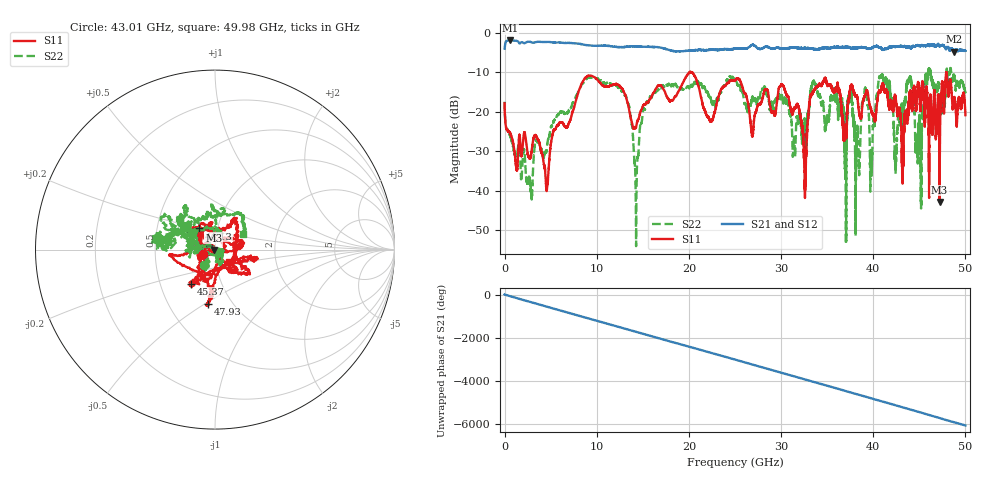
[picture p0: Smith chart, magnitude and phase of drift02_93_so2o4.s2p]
!Created with skrf (http://scikit-rf.org).
# Hz S RI R 50.0
!freq ReS11 ImS11 ReS21 ImS21 ReS12 ImS12 ReS22 ImS22
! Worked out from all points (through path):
!   10001 points, 300 kHz to 50 GHz, reference 50 ohm
!   highest |S21| = -1.99 dB at 585.3 MHz (marker M1); lowest = -4.8 dB at 48.77 GHz (marker M2)
!   group delay of S21, straight-line fit = 337 ps
!   lowest |S11| = -42.8 dB at 47.2 GHz (marker M3), VSWR 1.01, Z = 49.3 - j0.205 ohm
!   |S11| at or under -10 dB: start of sweep to 20.06 GHz; 20.20708 GHz to 20.22123 GHz (14.15 MHz wide, 0.07 % of centre); 20.24 GHz to end of sweep (the widest 3 of 6)
!   |S22| runs from -54.0 to -8.9 dB; largest |S21 - S12| = 0.036
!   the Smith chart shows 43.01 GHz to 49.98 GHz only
!   S11 on the Smith chart (normalised r, x): 43.01 GHz: 0.87, -0.04; 44.13 GHz: 0.82, +0.20; 45.37 GHz: 0.72, -0.29; 47.93 GHz: 0.78, -0.52; 49.98 GHz: 1.16, -0.16
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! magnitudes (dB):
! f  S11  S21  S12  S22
! 300 kHz  -17.9  -4.1  -4.0  -17.5
! 585.3 MHz  -25.2  -2.0  -2.0  -26.1
! 4.565 GHz  -39.9  -2.4  -2.4  -29.5
! 8.335 GHz  -13.0  -2.9  -2.9  -13.2
! 13 GHz  -15.3  -3.6  -3.6  -15.7
! 14.28 GHz  -23.9  -3.5  -3.5  -51.1
! 16.67 GHz  -13.3  -3.7  -3.7  -14.5
! 25 GHz  -12.1  -4.1  -4.1  -12.1
! 26.86 GHz  -25.9  -3.1  -3.1  -16.5
! 30.19 GHz  -13.4  -4.1  -4.1  -16.7
! 32.58 GHz  -38.4  -3.9  -4.0  -24.6
! 33.34 GHz  -15.7  -4.0  -4.1  -13.6
! 38.29 GHz  -16.7  -3.9  -3.9  -23.9
! 41.67 GHz  -18.1  -3.8  -3.9  -12.3
! 43.01 GHz  -22.8  -3.4  -3.4  -19.4
! 44.13 GHz  -16.7  -3.9  -3.9  -12.6
! 45.37 GHz  -12.6  -3.3  -3.3  -19.0
! 47.2 GHz  -42.8  -3.4  -3.4  -15.9
! 47.93 GHz  -10.3  -4.0  -4.0  -11.1
! 48.77 GHz  -16.5  -4.8  -4.8  -10.6
! 49.98 GHz  -19.8  -4.5  -4.5  -15.0
! 50 GHz  -20.9  -4.6  -4.5  -15.6
